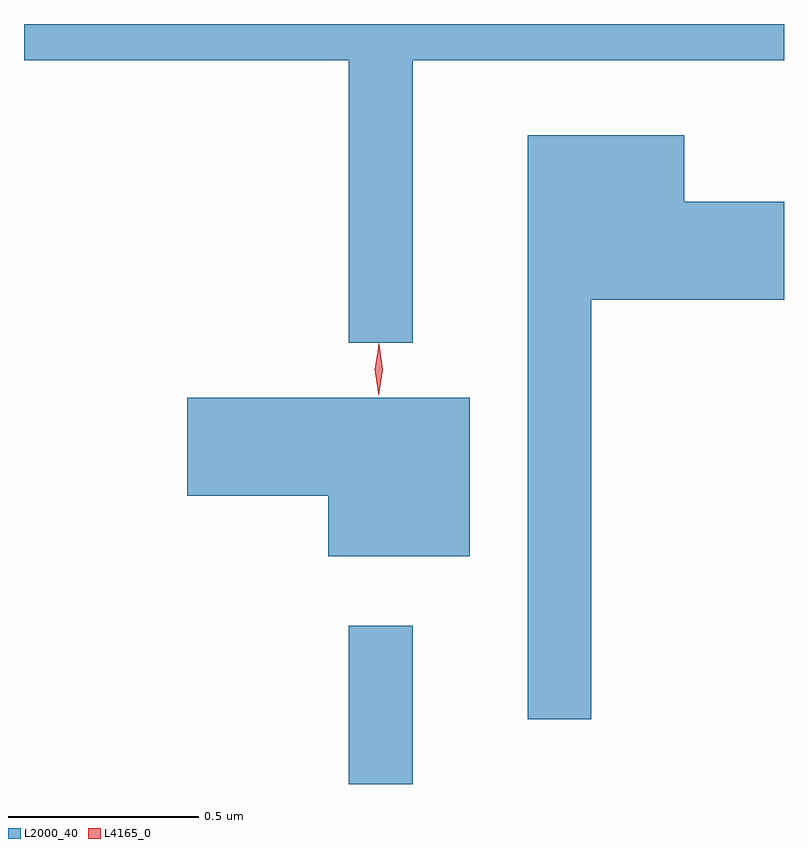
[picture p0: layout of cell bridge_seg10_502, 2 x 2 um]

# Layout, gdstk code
import gdstk
lib = gdstk.Library(unit=1e-6, precision=1e-09)
def R(c, l, rs):  # rectangles x0, y0, x1, y1
    for r in rs: c.add(gdstk.rectangle(r[:2], r[2:], *l))
def P(c, l, *ps):  # polygons
    for p in ps: c.add(gdstk.Polygon(p, *l))
L2000_40 = (2000, 40)
L4165_0 = (4165, 0)

bridge_seg10_502 = lib.new_cell('bridge_seg10_502')
R(bridge_seg10_502, L2000_40, [(957.571,2183.052,957.739,2183.468)])
P(bridge_seg10_502, L2000_40, [(957.739,2184.956),(958.716,2184.956),(958.716,2185.052),(956.716,2185.052),(956.716,2184.956),(957.571,2184.956),(957.571,2184.213),(957.739,2184.213)],
  [(958.209,2184.326),(958.716,2184.326),(958.716,2184.584),(958.454,2184.584),(958.454,2184.759),(958.041,2184.759),(958.041,2183.223),(958.209,2183.223)],
  [(957.889,2184.069),(957.146,2184.069),(957.146,2183.811),(957.516,2183.811),(957.516,2183.651),(957.889,2183.651)])
P(bridge_seg10_502, L4165_0, [(957.649,2184.074),(957.64,2184.142),(957.65,2184.21),(957.65,2184.21),(957.651,2184.21),(957.66,2184.142),(957.65,2184.074),(957.65,2184.074)],
  [(957.648,2184.08),(957.648,2184.081),(957.639,2184.144),(957.649,2184.206),(957.65,2184.207),(957.65,2184.206),(957.659,2184.144),(957.649,2184.081)])

lib.write_gds('bridge_seg10_502.gds')
